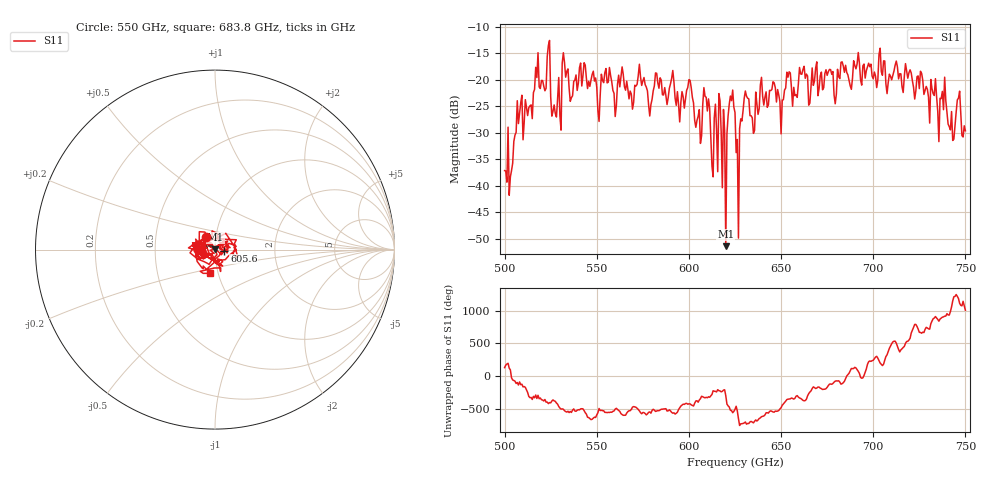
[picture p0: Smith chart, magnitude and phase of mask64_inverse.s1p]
!Created with skrf (http://scikit-rf.org).
# GHz S MA R 50.0
!freq magS11 angS11
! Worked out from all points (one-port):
!   401 points, 500 GHz to 750 GHz, reference 50 ohm
!   lowest |S11| = -51.4 dB at 620 GHz (marker M1), VSWR 1.01, Z = 50.1 + j0.232 ohm
!   |S11| at or under -10 dB: start of sweep to end of sweep
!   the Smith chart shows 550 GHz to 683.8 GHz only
!   S11 on the Smith chart (normalised r, x): 550 GHz: 0.90, +0.12; 605.6 GHz: 1.11, -0.01; 683.8 GHz: 0.91, -0.25
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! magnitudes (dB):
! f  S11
! 500 GHz  -37.1
! 516.9 GHz  -17.6
! 523.8 GHz  -13.5
! 526.9 GHz  -24.7
! 531.2 GHz  -16.9
! 550 GHz  -21.4
! 562.5 GHz  -21.3
! 578.8 GHz  -26.8
! 590.6 GHz  -19.7
! 593.8 GHz  -22.2
! 600 GHz  -20.0
! 605.6 GHz  -25.6
! 609.4 GHz  -23.3
! 612.5 GHz  -36.3
! 615.6 GHz  -37.3
! 618.8 GHz  -25.6
! 620 GHz  -51.4
! 622.5 GHz  -23.1
! 625 GHz  -26.2
! 626.9 GHz  -49.9
! 631.2 GHz  -23.1
! 634.4 GHz  -27.2
! 640 GHz  -23.1
! 656.2 GHz  -25.0
! 683.8 GHz  -17.4
! 687.5 GHz  -21.1
! 718.8 GHz  -19.7
! 750 GHz  -29.6
